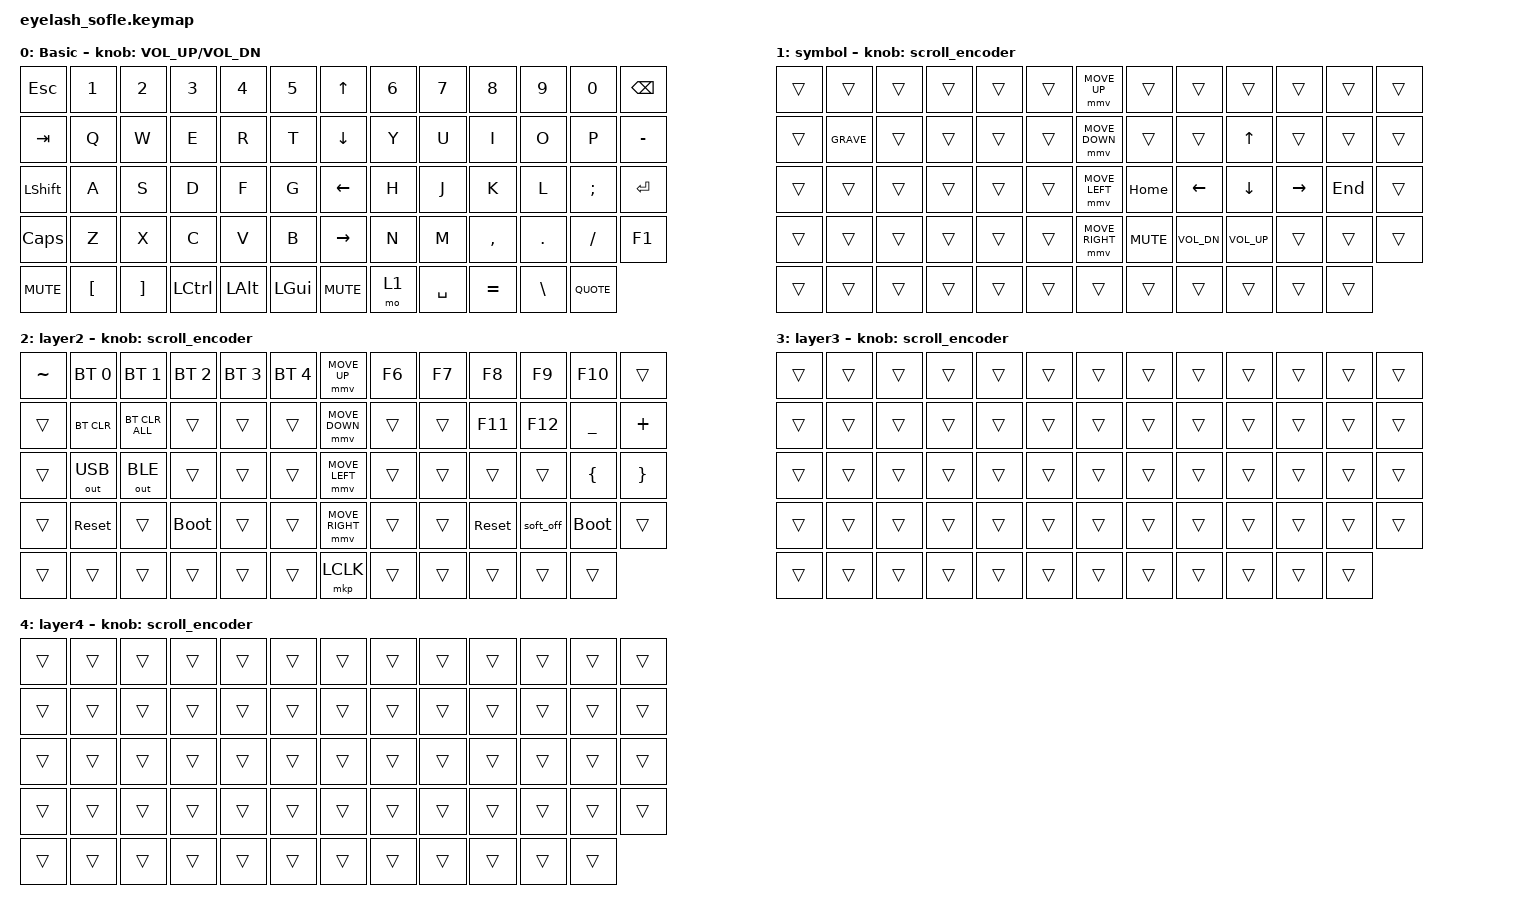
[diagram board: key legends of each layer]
#define ZMK_POINTING_DEFAULT_MOVE_VAL 1200  // 600
#define ZMK_POINTING_DEFAULT_SCRL_VAL 25   // 10

#include <input/processors.dtsi>
#include <zephyr/dt-bindings/input/input-event-codes.h>
#include <behaviors.dtsi>
#include <dt-bindings/zmk/bt.h>
#include <dt-bindings/zmk/keys.h>
#include <dt-bindings/zmk/outputs.h>
#include <dt-bindings/zmk/pointing.h>
#include <dt-bindings/zmk/rgb.h>

&mmv_input_listener { input-processors = <&zip_xy_scaler 2 1>; };

&msc_input_listener { input-processors = <&zip_scroll_scaler 2 1>; };

&msc {
    acceleration-exponent = <1>;      // 0
    time-to-max-speed-ms = <100>;       // 300
    delay-ms = <0>;                   // 0
};

&mmv {
    time-to-max-speed-ms = <500>;
    acceleration-exponent = <1>;
    trigger-period-ms = <16>;
};

&soft_off { hold-time-ms = <2000>; };

/ {
    scroll_encoder: scroll_encoder {
        compatible = "zmk,behavior-sensor-rotate";
        #sensor-binding-cells = <0>;
        bindings = <&msc SCRL_DOWN>, <&msc SCRL_UP>;

        tap-ms = <100>;
    };

    behaviors {
    };

    combos {
        compatible = "zmk,combos";

        softoff {
            bindings = <&soft_off>;
            key-positions = <14 28 40>;
        };
    };

    keymap {
        compatible = "zmk,keymap";

//        layer0 {
//            bindings = <
//&kp ESC     &kp N1     &kp N2        &kp N3        &kp N4  &kp N5       &kp UP_ARROW     &kp N6     &kp N7     &kp N8     &kp N9           &kp N0      &kp BACKSPACE
//&kp TAB     &kp Q      &kp W         &kp E         &kp R   &kp T        &kp DOWN_ARROW   &kp Y      &kp U      &kp I      &kp O            &kp P       &kp BSLH
//&kp CAPS    &kp A      &kp S         &kp D         &kp F   &kp G        &kp LEFT_ARROW   &kp H      &kp J      &kp K      &kp L            &kp SEMI    &kp APOS
//&kp LSHFT   &kp Z      &kp X         &kp C         &kp V   &kp B        &kp RIGHT_ARROW  &kp N      &kp M      &kp COMMA  &kp DOT          &kp FSLH    &kp ENTER
//&kp C_MUTE  &kp LCTRL  &kp LEFT_GUI  &kp LEFT_ALT  &mo 1   &kp SPACE    &kp ENTER        &kp SPACE  &kp ENTER  &mo 2      &kp RIGHT_SHIFT  &kp DELETE
//            >;
//
//            sensor-bindings = <&inc_dec_kp C_VOLUME_UP C_VOL_DN>;
//            display-name = "LAYER0";
//        };

        layer0 {
            bindings = <
        &kp ESC     &kp N1            &kp N2                &kp N3        &kp N4        &kp N5        &kp UP_ARROW     &kp N6     &kp N7     &kp N8     &kp N9           &kp N0      &kp BACKSPACE
        &kp TAB     &kp Q             &kp W                 &kp E         &kp R         &kp T         &kp DOWN_ARROW   &kp Y      &kp U      &kp I      &kp O            &kp P       &kp MINUS
        &kp LSHFT   &kp A             &kp S                 &kp D         &kp F         &kp G         &kp LEFT_ARROW   &kp H      &kp J      &kp K      &kp L            &kp SEMI    &kp ENTER
        &kp CAPS    &kp Z             &kp X                 &kp C         &kp V         &kp B         &kp RIGHT_ARROW  &kp N      &kp M      &kp COMMA  &kp DOT          &kp FSLH    &kp F1
        &kp C_MUTE  &kp LEFT_BRACKET  &kp RIGHT_BRACKET     &kp LCTRL     &kp LEFT_ALT  &kp LEFT_GUI  &kp C_MUTE       &mo 1      &kp SPACE  &kp EQUAL  &kp BSLH         &kp QUOTE
            >;
        
            sensor-bindings = <&inc_dec_kp C_VOLUME_UP C_VOL_DN>;
            display-name = "Basic";
        };


//        layer_1 {
//            bindings = <
//&kp GRAVE   &kp F1           &kp F2          &kp F3           &kp F4           &kp F5             &mmv MOVE_UP     &kp F6           &kp F7           &kp F8      &kp F9     &kp F10           &trans
//&trans      &kp GRAVE        &mkp LCLK       &mkp MCLK        &mkp RCLK        &mkp MB4           &mmv MOVE_DOWN   &kp PG_UP        &kp END          &kp UP      &kp HOME   &kp MINUS         &kp EQUAL
//&trans      &kp TILDE        &trans          &trans           &trans           &mkp MB5           &mmv MOVE_LEFT   &kp PG_DN        &kp LEFT         &kp DOWN    &kp RIGHT  &kp LEFT_BRACKET  &kp RIGHT_BRACKET
//&trans      &rgb_ug RGB_OFF  &rgb_ug RGB_ON  &rgb_ug RGB_EFF  &rgb_ug RGB_EFR  &rgb_ug RGB_SPI    &mmv MOVE_RIGHT  &rgb_ug RGB_BRI  &rgb_ug RGB_BRD  &kp INSERT  &kp F11    &kp F12           &trans
//&kp C_MUTE  &trans           &trans          &trans           &trans           &trans             &mkp LCLK        &trans           &trans           &trans      &trans     &trans
//            >;
//
//            display-name = "layer1";
//            sensor-bindings = <&scroll_encoder>;
//        };

        layer_1 {
            bindings = <
        &trans     &trans     &trans     &trans     &trans     &trans     &mmv MOVE_UP     &trans      &trans        &trans        &trans     &trans      &trans
        &trans     &GRAVE     &trans     &trans     &trans     &trans     &mmv MOVE_DOWN   &trans      &trans        &kp UP        &trans     &trans      &trans
        &trans     &trans     &trans     &trans     &trans     &trans     &mmv MOVE_LEFT   &kp HOME    &kp LEFT      &kp DOWN      &kp RIGHT  &kp END     &trans
        &trans     &trans     &trans     &trans     &trans     &trans     &mmv MOVE_RIGHT  &kp C_MUTE  &kp C_VOL_DN  &kp C_VOL_UP  &trans     &trans      &trans
        &trans     &trans     &trans     &trans     &trans     &trans     &trans           &trans      &trans        &trans        &trans     &trans
            >;
        
            display-name = "symbol";
            sensor-bindings = <&scroll_encoder>;
        };

        layer_2 {
            bindings = <
&kp TILDE  &bt BT_SEL 0  &bt BT_SEL 1    &bt BT_SEL 2  &bt BT_SEL 3  &bt BT_SEL 4    &mmv MOVE_UP     &kp F6  &kp F7  &kp F8      &kp F9     &kp F10      &trans
&trans     &bt BT_CLR    &bt BT_CLR_ALL  &trans        &trans        &trans          &mmv MOVE_DOWN   &trans  &trans  &kp F11     &kp F12    &kp UNDER    &kp PLUS
&trans     &out OUT_USB  &out OUT_BLE    &trans        &trans        &trans          &mmv MOVE_LEFT   &trans  &trans  &trans      &trans     &kp LBRC     &kp RBRC
&trans     &sys_reset    &trans          &bootloader   &trans        &trans          &mmv MOVE_RIGHT  &trans  &trans  &sys_reset  &soft_off  &bootloader  &trans
&trans     &trans        &trans          &trans        &trans        &trans          &mkp LCLK        &trans  &trans  &trans      &trans     &trans
            >;

            display-name = "layer2";
            sensor-bindings = <&scroll_encoder>;
        };

        layer_3 {
            bindings = <
&trans  &trans  &trans  &trans  &trans  &trans    &trans  &trans  &trans  &trans  &trans  &trans  &trans
&trans  &trans  &trans  &trans  &trans  &trans    &trans  &trans  &trans  &trans  &trans  &trans  &trans
&trans  &trans  &trans  &trans  &trans  &trans    &trans  &trans  &trans  &trans  &trans  &trans  &trans
&trans  &trans  &trans  &trans  &trans  &trans    &trans  &trans  &trans  &trans  &trans  &trans  &trans
&trans  &trans  &trans  &trans  &trans  &trans    &trans  &trans  &trans  &trans  &trans  &trans
            >;

            display-name = "layer3";
            sensor-bindings = <&scroll_encoder>;
        };

        layer_4 {
            bindings = <
&trans  &trans  &trans  &trans  &trans  &trans    &trans  &trans  &trans  &trans  &trans  &trans  &trans
&trans  &trans  &trans  &trans  &trans  &trans    &trans  &trans  &trans  &trans  &trans  &trans  &trans
&trans  &trans  &trans  &trans  &trans  &trans    &trans  &trans  &trans  &trans  &trans  &trans  &trans
&trans  &trans  &trans  &trans  &trans  &trans    &trans  &trans  &trans  &trans  &trans  &trans  &trans
&trans  &trans  &trans  &trans  &trans  &trans    &trans  &trans  &trans  &trans  &trans  &trans
            >;
         display-name = "layer4";
            sensor-bindings = <&scroll_encoder>;
        };
    };
};
